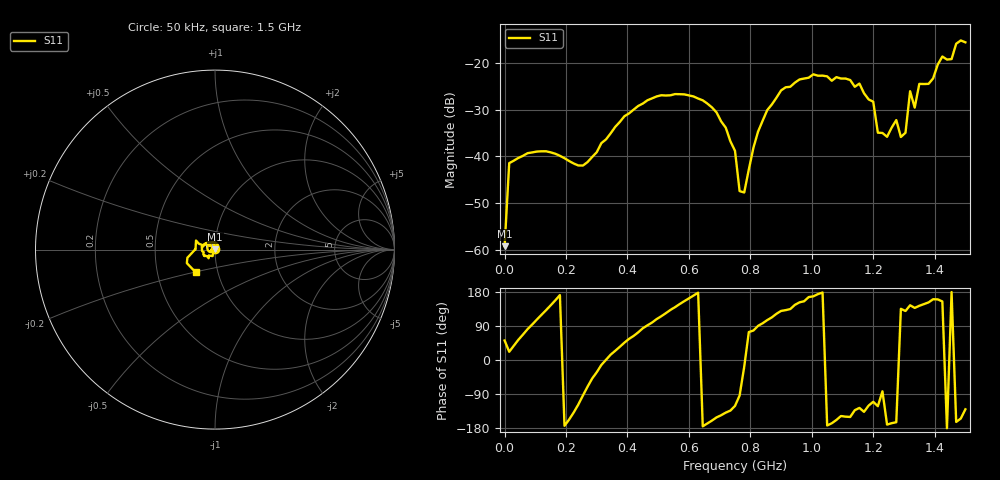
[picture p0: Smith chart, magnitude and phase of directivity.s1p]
! Created with skrf 1.8.0 (http://scikit-rf.org).
# Hz S RI R 50.0
!freq ReS11 ImS11
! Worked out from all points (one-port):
!   101 points, 50 kHz to 1.5 GHz, reference 50 ohm
!   lowest |S11| = -59.2 dB at 50 kHz (marker M1), VSWR 1.00, Z = 50.1 + j0.0857 ohm
!   |S11| at or under -10 dB: start of sweep to end of sweep
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50000  0.000681 0.000856
1.50495e7  0.00786 0.00313
1.050465e8  -0.00324 0.0108
1.950435e8  -0.0095 -0.00106
2.550415e8  -0.000503 -0.00797
3.750375e8  0.0192 0.0133
4.650345e8  -0.00104 0.0399
5.70031e8  -0.0391 0.0248
6.750275e8  -0.0314 -0.0115
7.50025e8  -0.00593 -0.00982
7.650245e8  -0.00028 -0.00424
7.80024e8  0.00391 -0.00126
8.10023e8  0.00261 0.0121
8.550215e8  -0.00827 0.0302
9.450185e8  -0.0508 0.0348
1.125012e9  -0.0571 -0.0325
1.20001e9  -0.0134 -0.0361
1.21501e9  -0.00947 -0.0152
1.245008e9  -0.016 -0.00268
1.275008e9  -0.0235 -0.00666
1.290007e9  -0.0114 0.0114
1.305006e9  -0.0113 0.0138
1.320006e9  -0.0405 0.029
1.335006e9  -0.0245 0.0225
1.350005e9  -0.0477 0.0359
1.395004e9  -0.0643 0.0229
1.425002e9  -0.1058 0.0505
1.5e9  -0.107 -0.1272
